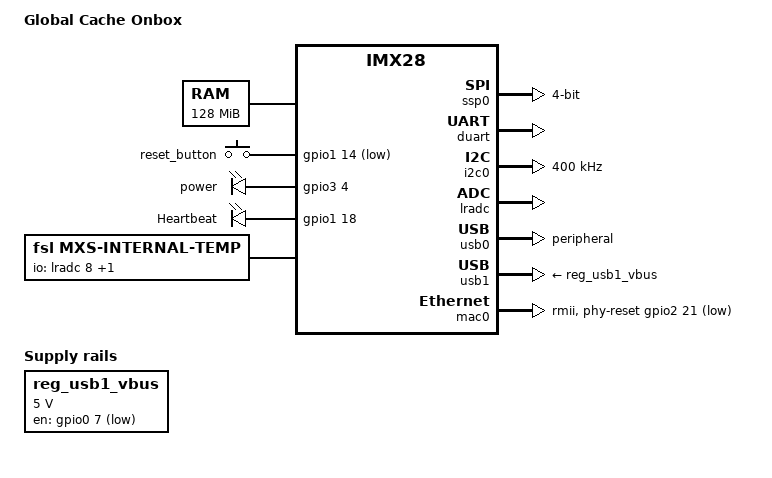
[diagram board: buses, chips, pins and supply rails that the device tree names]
/*
 * Copyright 2012 Free Electrons
 *
 * The code contained herein is licensed under the GNU General Public
 * License. You may obtain a copy of the GNU General Public License
 * Version 2 or later at the following locations:
 *
 * http://www.opensource.org/licenses/gpl-license.html
 * http://www.gnu.org/copyleft/gpl.html
 */

/dts-v1/;
/include/ "imx28.dtsi"

/ {
	model = "Global Cache Onbox";
	compatible = "global cache,onbox", "fsl,imx28";

	memory {
		reg = <0x40000000 0x08000000>;
	};

	apb@80000000 {
		apbh@80000000 {
			pinctrl@80018000 {
				led_pins_onbox: leds@0 {
					reg = <0>;
					fsl,pinmux-ids = <
						0x3043 /* MX28_PAD_AUART1_RX__GPIO_3_4 */
						0x1123 /* MX23_PAD_LCD_RESET__GPIO_1_18 */

					>;
					fsl,drive-strength = <0>;
					fsl,voltage = <1>;
					fsl,pull-up = <0>;
				};

				reset_btn_pins: reset_btn@0 {
					reg = <0>;
					fsl,pinmux-ids = <
						0x10e3 /* MX23_PAD_LCD_D14__GPIO_1_14 */
					>;
					fsl,drive-strength = <0>;
					fsl,voltage = <1>;
					fsl,pull-up = <1>;
				};

				usb0_otg_onbox: otg-10036@0 {
					reg = <0>;
					fsl,pinmux-ids = <
						0x0142 /* MX28_PAD_GPMI_READY0__USB0_ID */
					>;
					fsl,drive-strength = <0>;
					fsl,voltage = <1>;
					fsl,pull-up = <0>;
				};

				usb_pins_cfa10037: usb-10037@0 {
					reg = <0>;
					fsl,pinmux-ids = <
						0x0073 /* MX28_PAD_GPMI_D7__GPIO_0_7 */
					>;
					fsl,drive-strength = <0>;
					fsl,voltage = <1>;
					fsl,pull-up = <0>;
				};

				mac0_pins_cfa10037: mac0-10037@0 {
					reg = <0>;
					fsl,pinmux-ids = <
						0x2153 /* MX28_PAD_SSP2_D5__GPIO_2_21 */
					>;
					fsl,drive-strength = <0>;
					fsl,voltage = <1>;
					fsl,pull-up = <0>;
				};
			};

			ssp0: ssp@80010000 {
				compatible = "fsl,imx28-mmc";
				pinctrl-names = "default";
				pinctrl-0 = <&mmc0_4bit_pins_a
					&mmc0_cd_cfg &mmc0_sck_cfg>;
				bus-width = <4>;
				status = "okay";
			};
		};

		apbx@80040000 {
			duart: serial@80074000 {
				pinctrl-names = "default";
				pinctrl-0 = <&duart_pins_b>;
				status = "okay";
			};

			i2c0: i2c@80058000 {
				pinctrl-names = "default";
				pinctrl-0 = <&i2c0_pins_b>;
				clock-frequency = <400000>;
				status = "okay";
			};

			usbphy0: usbphy@8007c000 {
				status = "okay";
			};

			usbphy1: usbphy@8007e000 {
				status = "okay";
			};

			lradc: lradc@80050000 {
				status = "okay";
			};
		};
	};

	ahb@80080000 {
		usb0: usb@80080000 {
			pinctrl-names = "default";
			pinctrl-0 = <&usb0_otg_onbox>;
			status = "okay";
			dr_mode = "peripheral";
			phy_type = "utmi";
		};

		usb1: usb@80090000 {
			vbus-supply = <&reg_usb1_vbus>;
			pinctrl-0 = <&usbphy1_pins_a>;
			pinctrl-names = "default";
			status = "okay";
		};

		mac0: ethernet@800f0000 {
			phy-mode = "rmii";
			pinctrl-names = "default";
			pinctrl-0 = <&mac0_pins_a
				&mac0_pins_cfa10037>;
			phy-reset-gpios = <&gpio2 21 0>;
			phy-reset-duration = <100>;
			status = "okay";
		};
	};

	regulators {
		compatible = "simple-bus";

		reg_usb1_vbus: usb1_vbus {
			compatible = "regulator-fixed";
			pinctrl-names = "default";
			pinctrl-0 = <&usb_pins_cfa10037>;
			regulator-name = "usb1_vbus";
			regulator-min-microvolt = <5000000>;
			regulator-max-microvolt = <5000000>;
			gpio = <&gpio0 7 1>;
		};
	};

	gpio_keys {
		compatible = "gpio-keys-polled";
		pinctrl-names = "default";
		pinctrl-0 = <&reset_btn_pins>;
		poll-interval = <10>;
		#address-cells = <1>;
		#size-cells = <0>;

		reset_button {
			label = "reset_button";
			gpios = <&gpio1 14 1>;
			debounce-interval = <10>;
			linux,code = <0x198>;
		};
	};

	leds {
		compatible = "gpio-leds";
		pinctrl-names = "default";
		pinctrl-0 = <&led_pins_onbox>;

		power {
			gpios = <&gpio3 4 0>;
			default-state = "on";
		};

		user {
			label = "Heartbeat";
			gpios = <&gpio1 18 0>;
			linux,default-trigger = "heartbeat";
		};
	};

	temp {
		compatible = "fsl,mxs-internal-temp";
		io-channels = <&lradc 8>, <&lradc 9>;
		io-channel-names = "min", "max";
	};
};
